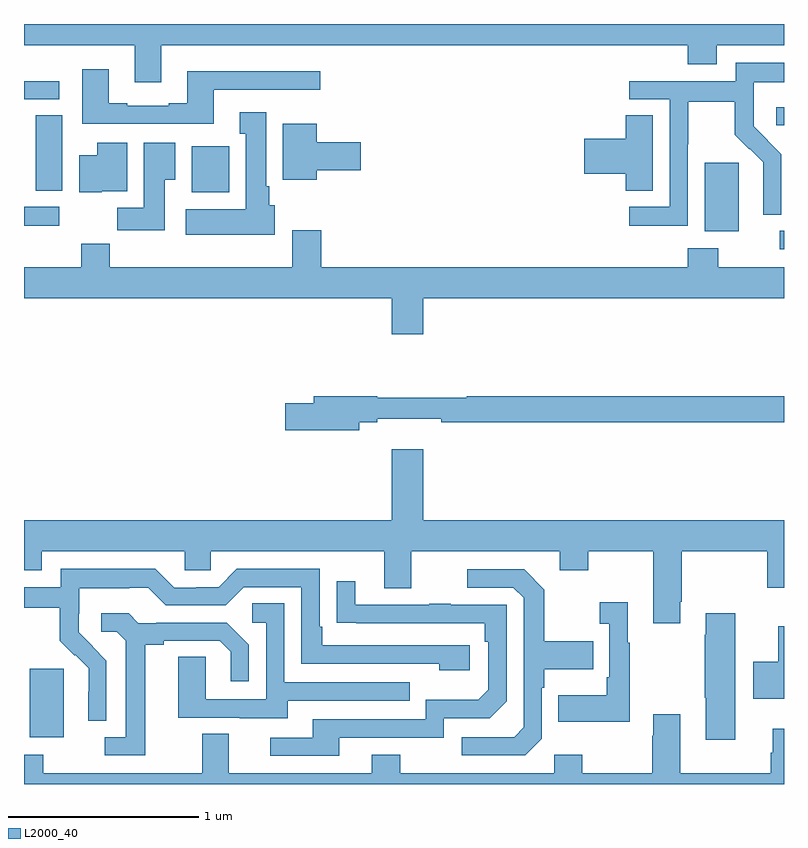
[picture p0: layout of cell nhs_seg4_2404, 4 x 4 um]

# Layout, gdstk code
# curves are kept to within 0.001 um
import gdstk
lib = gdstk.Library(unit=1e-6, precision=1e-09)
def R(c, l, rs):  # rectangles x0, y0, x1, y1
    for r in rs: c.add(gdstk.rectangle(r[:2], r[2:], *l))
def P(c, l, *ps):  # polygons
    for p in ps: c.add(gdstk.Polygon(p, *l))
L2000_40 = (2000, 40)

nhs_seg4_2404 = lib.new_cell('nhs_seg4_2404')
R(nhs_seg4_2404, L2000_40, [(235.031,825.146,235.21,825.507), (238.977,827.715,239,827.811), (238.583,827.81,238.762,828.171), (235,827.839,235.186,827.937), (235.883,828.014,236.08,828.256), (235.061,828.022,235.201,828.419), (238.959,828.366,239,828.463), (235,828.504,235.186,828.6)])
P(nhs_seg4_2404, L2000_40, [(235.723,828.788),(238.493,828.788),(238.493,828.689),(238.645,828.689),(238.645,828.788),(239,828.788),(239,828.9),(235,828.9),(235,828.788),(235.583,828.788),(235.583,828.594),(235.723,828.594)],
  [(238.494,828.268),(238.497,828.268),(238.497,828.492),(238.741,828.492),(238.741,828.317),(238.818,828.24),(238.821,828.243),(238.892,828.173),(238.892,828.05),(238.89,828.05),(238.89,827.896),(238.986,827.896),(238.986,828.214),(238.84,828.362),(238.84,828.459),(238.842,828.459),(238.842,828.593),(239,828.593),(239,828.697),(238.746,828.697),(238.746,828.6),(238.185,828.6),(238.185,828.504),(238.398,828.504),(238.398,827.937),(238.185,827.937),(238.185,827.839),(238.494,827.839)],
  [(235.999,828.555),(236.56,828.555),(236.56,828.652),(235.859,828.652),(235.859,828.484),(235.763,828.484),(235.763,828.471),(235.543,828.471),(235.543,828.484),(235.447,828.484),(235.447,828.661),(235.307,828.661),(235.307,828.375),(235.999,828.375)],
  [(236.32,827.946),(236.29,827.946),(236.29,828.046),(236.275,828.046),(236.275,828.436),(236.135,828.436),(236.135,828.323),(236.168,828.323),(236.168,827.926),(235.851,827.926),(235.851,827.792),(236.32,827.792)],
  [(238.309,828.419),(238.166,828.419),(238.166,828.296),(237.948,828.296),(237.948,828.113),(238.166,828.113),(238.166,828.022),(238.309,828.022)],
  [(236.542,828.131),(236.773,828.131),(236.773,828.278),(236.542,828.278),(236.542,828.376),(236.363,828.376),(236.363,828.08),(236.542,828.08)],
  [(235.41,828.02),(235.543,828.02),(235.543,828.274),(235.385,828.274),(235.385,828.208),(235.292,828.208),(235.292,828.014),(235.41,828.014)],
  [(235.741,828.08),(235.795,828.08),(235.795,828.274),(235.631,828.274),(235.631,827.932),(235.492,827.932),(235.492,827.814),(235.741,827.814)],
  [(237.1,827.456),(239,827.456),(239,827.62),(238.653,827.62),(238.653,827.719),(238.493,827.719),(238.493,827.62),(236.564,827.62),(236.564,827.815),(236.411,827.815),(236.411,827.62),(235.451,827.62),(235.451,827.744),(235.3,827.744),(235.3,827.62),(235,827.62),(235,827.456),(236.936,827.456),(236.936,827.268),(237.1,827.268)],
  [(236.764,826.804),(236.86,826.804),(236.86,826.823),(237.196,826.823),(237.196,826.804),(239,826.804),(239,826.94),(237.329,826.94),(237.329,826.933),(236.86,826.933),(236.86,826.94),(236.525,826.94),(236.525,826.904),(236.376,826.904),(236.376,826.762),(236.764,826.762)],
  [(238.453,825.859),(238.461,825.859),(238.461,826.124),(238.912,826.124),(238.912,825.933),(239,825.933),(239,826.288),(237.1,826.288),(237.1,826.663),(236.936,826.663),(236.936,826.288),(235,826.288),(235,826.025),(235.093,826.025),(235.093,826.124),(235.845,826.124),(235.845,826.026),(235.983,826.026),(235.983,826.124),(236.897,826.124),(236.897,825.93),(237.037,825.93),(237.037,826.124),(237.821,826.124),(237.821,826.025),(237.969,826.025),(237.969,826.124),(238.313,826.124),(238.313,825.747),(238.453,825.747)],
  [(235.434,825.55),(235.288,825.698),(235.288,825.795),(235.29,825.795),(235.29,825.929),(235.553,825.929),(235.553,825.933),(235.653,825.933),(235.746,825.84),(236.061,825.84),(236.157,825.936),(236.46,825.936),(236.46,825.534),(237.185,825.534),(237.185,825.5),(237.346,825.5),(237.346,825.63),(236.569,825.63),(236.569,825.727),(236.556,825.727),(236.556,826.032),(236.121,826.032),(236.025,825.936),(235.907,825.936),(235.907,825.933),(235.791,825.933),(235.691,826.033),(235.194,826.033),(235.194,825.936),(235,825.936),(235,825.828),(235.189,825.828),(235.189,825.653),(235.266,825.576),(235.269,825.579),(235.34,825.509),(235.34,825.386),(235.338,825.386),(235.338,825.232),(235.434,825.232)],
  [(237.726,825.138),(237.726,825.407),(237.739,825.407),(237.739,825.503),(237.995,825.503),(237.995,825.651),(237.739,825.651),(237.739,825.923),(237.633,826.029),(237.333,826.029),(237.333,825.933),(237.576,825.933),(237.63,825.879),(237.63,825.198),(237.579,825.147),(237.303,825.147),(237.303,825.051),(237.639,825.051)],
  [(236.659,825.144),(237.21,825.144),(237.21,825.246),(237.45,825.246),(237.54,825.336),(237.54,825.843),(237.245,825.843),(237.245,825.848),(237.133,825.848),(237.133,825.843),(236.743,825.843),(236.743,825.967),(236.647,825.967),(236.647,825.748),(237.424,825.747),(237.424,825.65),(237.444,825.65),(237.444,825.396),(237.391,825.343),(237.114,825.343),(237.114,825.24),(236.519,825.24),(236.519,825.144),(236.295,825.144),(236.295,825.048),(236.659,825.048)],
  [(238.189,825.643),(238.177,825.643),(238.177,825.856),(238.029,825.856),(238.029,825.743),(238.08,825.743),(238.08,825.463),(238.068,825.463),(238.068,825.367),(237.811,825.367),(237.811,825.227),(238.189,825.227)],
  [(236.389,825.339),(237.029,825.339),(237.029,825.435),(236.37,825.435),(236.37,825.851),(236.202,825.851),(236.202,825.75),(236.274,825.75),(236.274,825.345),(235.956,825.345),(235.956,825.569),(235.811,825.569),(235.811,825.249),(236.135,825.249),(236.135,825.245),(236.389,825.245)],
  [(235.639,825.632),(235.735,825.632),(235.735,825.654),(236.03,825.654),(236.087,825.597),(236.087,825.441),(236.184,825.441),(236.184,825.634),(236.068,825.75),(235.696,825.75),(235.696,825.747),(235.602,825.747),(235.55,825.799),(235.407,825.799),(235.407,825.702),(235.488,825.702),(235.535,825.655),(235.535,825.147),(235.425,825.147),(235.425,825.051),(235.639,825.051)],
  [(238.744,825.799),(238.589,825.799),(238.589,825.686),(238.582,825.686),(238.582,825.355),(238.589,825.355),(238.589,825.132),(238.744,825.132)],
  [(239,825.73),(238.97,825.73),(238.97,825.544),(238.838,825.544),(238.838,825.35),(239,825.35)],
  [(239,825.19),(238.94,825.19),(238.94,825.065),(238.929,825.065),(238.929,824.956),(238.453,824.956),(238.453,825.268),(238.313,825.268),(238.313,825.155),(238.306,825.155),(238.306,824.956),(237.939,824.956),(237.939,825.055),(237.792,825.055),(237.792,824.956),(236.979,824.956),(236.979,825.055),(236.831,825.055),(236.831,824.956),(236.077,824.956),(236.077,825.164),(235.937,825.164),(235.937,824.956),(235.101,824.956),(235.101,825.055),(235,825.055),(235,824.9),(239,824.9)])

lib.write_gds('nhs_seg4_2404.gds')
